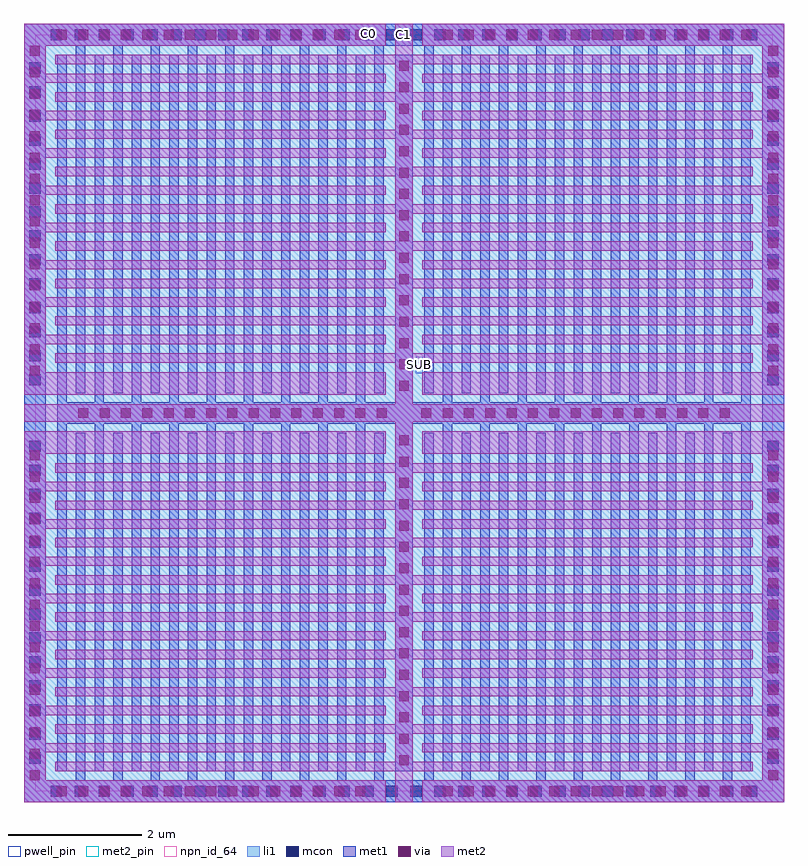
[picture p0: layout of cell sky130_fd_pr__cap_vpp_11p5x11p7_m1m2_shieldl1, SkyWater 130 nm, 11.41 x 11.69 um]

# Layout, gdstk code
import gdstk
lib = gdstk.Library(unit=1e-6, precision=1e-09)
def R(c, l, rs):  # rectangles x0, y0, x1, y1
    for r in rs: c.add(gdstk.rectangle(r[:2], r[2:], *l))
def A(c, l, x, y, w, h, nx, ny, dx, dy):  # array of equal rectangles
    R(c, l, [(x+i*dx, y+j*dy, x+i*dx+w, y+j*dy+h) for i in range(nx) for j in range(ny)])
def P(c, l, *ps):  # polygons
    for p in ps: c.add(gdstk.Polygon(p, *l))
li1 = (67, 20)
mcon = (67, 44)
met1 = (68, 20)
via = (68, 44)
met2_pin = (69, 16)
met2 = (69, 20)
npn_id_64 = (82, 64)
pwell_pin = (122, 16)

sky130_fd_pr__cap_vpp_11 = lib.new_cell('sky130_fd_pr__cap_vpp_11p5x11p7_m1m2_shieldl1')
R(sky130_fd_pr__cap_vpp_11, li1, [(0,0,11.41,11.69)])
A(sky130_fd_pr__cap_vpp_11, mcon, 0.4, 0.08, 0.17, 0.17, 30, 2, 0.36, 11.36)
A(sky130_fd_pr__cap_vpp_11, mcon, 0.08, 0.58, 0.17, 0.17, 1, 14, 0, 0.36)
A(sky130_fd_pr__cap_vpp_11, mcon, 11.16, 0.58, 0.17, 0.17, 1, 14, 0, 0.36)
A(sky130_fd_pr__cap_vpp_11, mcon, 0.08, 6.26, 0.17, 0.17, 1, 14, 0, 0.36)
A(sky130_fd_pr__cap_vpp_11, mcon, 11.16, 6.26, 0.17, 0.17, 1, 14, 0, 0.36)
P(sky130_fd_pr__cap_vpp_11, met1, [(10.91,11.22),(10.77,11.22),(10.77,6.005),(10.35,6.005),(10.35,11.22),(10.21,11.22),(10.21,6.005),(9.79,6.005),(9.79,11.22),(9.65,11.22),(9.65,6.005),(9.23,6.005),(9.23,11.22),(9.09,11.22),(9.09,6.005),(8.67,6.005),(8.67,11.22),(8.53,11.22),(8.53,6.005),(8.11,6.005),(8.11,11.22),(7.97,11.22),(7.97,6.005),(7.55,6.005),(7.55,11.22),(7.41,11.22),(7.41,6.005),(6.99,6.005),(6.99,11.22),(6.85,11.22),(6.85,6.005),(6.43,6.005),(6.43,11.22),(6.29,11.22),(6.29,6.005),(5.84,6.005),(5.84,11.22),(5.57,11.22),(5.57,6.005),(5.12,6.005),(5.12,11.22),(4.98,11.22),(4.98,6.005),(4.56,6.005),(4.56,11.22),(4.42,11.22),(4.42,6.005),(4,6.005),(4,11.22),(3.86,11.22),(3.86,6.005),(3.44,6.005),(3.44,11.22),(3.3,11.22),(3.3,6.005),(2.88,6.005),(2.88,11.22),(2.74,11.22),(2.74,6.005),(2.32,6.005),(2.32,11.22),(2.18,11.22),(2.18,6.005),(1.76,6.005),(1.76,11.22),(1.62,11.22),(1.62,6.005),(1.2,6.005),(1.2,11.22),(1.06,11.22),(1.06,6.005),(0.64,6.005),(0.64,11.22),(0.5,11.22),(0.5,0.47),(0.64,0.47),(0.64,5.685),(1.06,5.685),(1.06,0.47),(1.2,0.47),(1.2,5.685),(1.62,5.685),(1.62,0.47),(1.76,0.47),(1.76,5.685),(2.18,5.685),(2.18,0.47),(2.32,0.47),(2.32,5.685),(2.74,5.685),(2.74,0.47),(2.88,0.47),(2.88,5.685),(3.3,5.685),(3.3,0.47),(3.44,0.47),(3.44,5.685),(3.86,5.685),(3.86,0.47),(4,0.47),(4,5.685),(4.42,5.685),(4.42,0.47),(4.56,0.47),(4.56,5.685),(4.98,5.685),(4.98,0.47),(5.12,0.47),(5.12,5.685),(5.57,5.685),(5.57,0.47),(5.84,0.47),(5.84,5.685),(6.29,5.685),(6.29,0.47),(6.43,0.47),(6.43,5.685),(6.85,5.685),(6.85,0.47),(6.99,0.47),(6.99,5.685),(7.41,5.685),(7.41,0.47),(7.55,0.47),(7.55,5.685),(7.97,5.685),(7.97,0.47),(8.11,0.47),(8.11,5.685),(8.53,5.685),(8.53,0.47),(8.67,0.47),(8.67,5.685),(9.09,5.685),(9.09,0.47),(9.23,0.47),(9.23,5.685),(9.65,5.685),(9.65,0.47),(9.79,0.47),(9.79,5.685),(10.21,5.685),(10.21,0.47),(10.35,0.47),(10.35,5.685),(10.77,5.685),(10.77,0.47),(10.91,0.47)],
  [(11.41,11.69),(11.08,11.69),(11.08,0.33),(10.63,0.33),(10.63,5.545),(10.49,5.545),(10.49,0.33),(10.07,0.33),(10.07,5.545),(9.93,5.545),(9.93,0.33),(9.51,0.33),(9.51,5.545),(9.37,5.545),(9.37,0.33),(8.95,0.33),(8.95,5.545),(8.81,5.545),(8.81,0.33),(8.39,0.33),(8.39,5.545),(8.25,5.545),(8.25,0.33),(7.83,0.33),(7.83,5.545),(7.69,5.545),(7.69,0.33),(7.27,0.33),(7.27,5.545),(7.13,5.545),(7.13,0.33),(6.71,0.33),(6.71,5.545),(6.57,5.545),(6.57,0.33),(6.15,0.33),(6.15,5.545),(6.01,5.545),(6.01,0.33),(5.4,0.33),(5.4,5.545),(5.26,5.545),(5.26,0.33),(4.84,0.33),(4.84,5.545),(4.7,5.545),(4.7,0.33),(4.28,0.33),(4.28,5.545),(4.14,5.545),(4.14,0.33),(3.72,0.33),(3.72,5.545),(3.58,5.545),(3.58,0.33),(3.16,0.33),(3.16,5.545),(3.02,5.545),(3.02,0.33),(2.6,0.33),(2.6,5.545),(2.46,5.545),(2.46,0.33),(2.04,0.33),(2.04,5.545),(1.9,5.545),(1.9,0.33),(1.48,0.33),(1.48,5.545),(1.34,5.545),(1.34,0.33),(0.92,0.33),(0.92,5.545),(0.78,5.545),(0.78,0.33),(0.33,0.33),(0.33,11.36),(0.78,11.36),(0.78,6.145),(0.92,6.145),(0.92,11.36),(1.34,11.36),(1.34,6.145),(1.48,6.145),(1.48,11.36),(1.9,11.36),(1.9,6.145),(2.04,6.145),(2.04,11.36),(2.46,11.36),(2.46,6.145),(2.6,6.145),(2.6,11.36),(3.02,11.36),(3.02,6.145),(3.16,6.145),(3.16,11.36),(3.58,11.36),(3.58,6.145),(3.72,6.145),(3.72,11.36),(4.14,11.36),(4.14,6.145),(4.28,6.145),(4.28,11.36),(4.7,11.36),(4.7,6.145),(4.84,6.145),(4.84,11.36),(5.26,11.36),(5.26,6.145),(5.4,6.145),(5.4,11.36),(6.01,11.36),(6.01,6.145),(6.15,6.145),(6.15,11.36),(6.57,11.36),(6.57,6.145),(6.71,6.145),(6.71,11.36),(7.13,11.36),(7.13,6.145),(7.27,6.145),(7.27,11.36),(7.69,11.36),(7.69,6.145),(7.83,6.145),(7.83,11.36),(8.25,11.36),(8.25,6.145),(8.39,6.145),(8.39,11.36),(8.81,11.36),(8.81,6.145),(8.95,6.145),(8.95,11.36),(9.37,11.36),(9.37,6.145),(9.51,6.145),(9.51,11.36),(9.93,11.36),(9.93,6.145),(10.07,6.145),(10.07,11.36),(10.49,11.36),(10.49,6.145),(10.63,6.145),(10.63,11.36),(11.08,11.36),(11.08,11.69),(0,11.69),(0,0),(11.41,0)])
A(sky130_fd_pr__cap_vpp_11, via, 4.015, 0.09, 0.15, 0.15, 1, 3, 0, 5.68)
A(sky130_fd_pr__cap_vpp_11, via, 7.245, 0.09, 0.15, 0.15, 1, 3, 0, 5.68)
A(sky130_fd_pr__cap_vpp_11, via, 0.09, 0.335, 0.15, 0.15, 1, 16, 0, 0.32)
A(sky130_fd_pr__cap_vpp_11, via, 11.17, 0.335, 0.15, 0.15, 1, 16, 0, 0.32)
A(sky130_fd_pr__cap_vpp_11, via, 5.63, 0.56, 0.15, 0.15, 1, 16, 0, 0.32)
A(sky130_fd_pr__cap_vpp_11, via, 0.815, 5.77, 0.15, 0.15, 11, 1, 0.32, 0)
A(sky130_fd_pr__cap_vpp_11, via, 7.245, 5.77, 0.15, 0.15, 11, 1, 0.32, 0)
A(sky130_fd_pr__cap_vpp_11, via, 5.63, 6.18, 0.15, 0.15, 1, 16, 0, 0.32)
A(sky130_fd_pr__cap_vpp_11, via, 0.09, 6.405, 0.15, 0.15, 1, 16, 0, 0.32)
A(sky130_fd_pr__cap_vpp_11, via, 11.17, 6.405, 0.15, 0.15, 1, 16, 0, 0.32)
R(sky130_fd_pr__cap_vpp_11, via, [(0.495,0.09,0.645,0.24), (0.495,0.09,0.645,0.24), (0.815,0.09,0.965,0.24), (0.815,0.09,0.965,0.24), (1.135,0.09,1.285,0.24), (1.135,0.09,1.285,0.24), (1.455,0.09,1.605,0.24), (1.455,0.09,1.605,0.24), (1.775,0.09,1.925,0.24), (1.775,0.09,1.925,0.24), (2.095,0.09,2.245,0.24), (2.095,0.09,2.245,0.24), (2.415,0.09,2.565,0.24), (2.415,0.09,2.565,0.24), (2.735,0.09,2.885,0.24), (2.735,0.09,2.885,0.24), (3.055,0.09,3.205,0.24), (3.055,0.09,3.205,0.24), (3.375,0.09,3.525,0.24), (3.375,0.09,3.525,0.24), (3.695,0.09,3.845,0.24), (3.695,0.09,3.845,0.24), (4.015,0.09,4.165,0.24), (4.335,0.09,4.485,0.24), (4.335,0.09,4.485,0.24), (4.655,0.09,4.805,0.24), (4.655,0.09,4.805,0.24), (4.975,0.09,5.125,0.24), (4.975,0.09,5.125,0.24), (6.285,0.09,6.435,0.24), (6.285,0.09,6.435,0.24), (6.605,0.09,6.755,0.24), (6.605,0.09,6.755,0.24), (6.925,0.09,7.075,0.24), (6.925,0.09,7.075,0.24), (7.245,0.09,7.395,0.24), (7.565,0.09,7.715,0.24), (7.565,0.09,7.715,0.24), (7.885,0.09,8.035,0.24), (7.885,0.09,8.035,0.24), (8.205,0.09,8.355,0.24), (8.205,0.09,8.355,0.24), (8.525,0.09,8.675,0.24), (8.525,0.09,8.675,0.24), (8.845,0.09,8.995,0.24), (8.845,0.09,8.995,0.24), (9.165,0.09,9.315,0.24), (9.165,0.09,9.315,0.24), (9.485,0.09,9.635,0.24), (9.485,0.09,9.635,0.24), (9.805,0.09,9.955,0.24), (9.805,0.09,9.955,0.24), (10.125,0.09,10.275,0.24), (10.125,0.09,10.275,0.24), (10.445,0.09,10.595,0.24), (10.445,0.09,10.595,0.24), (10.765,0.09,10.915,0.24), (10.765,0.09,10.915,0.24), (4.335,5.77,4.485,5.92), (4.335,5.77,4.485,5.92), (4.655,5.77,4.805,5.92), (4.655,5.77,4.805,5.92), (4.975,5.77,5.125,5.92), (4.975,5.77,5.125,5.92), (5.295,5.77,5.445,5.92), (5.295,5.77,5.445,5.92), (5.965,5.77,6.115,5.92), (5.965,5.77,6.115,5.92), (6.285,5.77,6.435,5.92), (6.285,5.77,6.435,5.92), (6.605,5.77,6.755,5.92), (6.605,5.77,6.755,5.92), (6.925,5.77,7.075,5.92), (6.925,5.77,7.075,5.92), (0.495,11.45,0.645,11.6), (0.495,11.45,0.645,11.6), (0.815,11.45,0.965,11.6), (0.815,11.45,0.965,11.6), (1.135,11.45,1.285,11.6), (1.135,11.45,1.285,11.6), (1.455,11.45,1.605,11.6), (1.455,11.45,1.605,11.6), (1.775,11.45,1.925,11.6), (1.775,11.45,1.925,11.6), (2.095,11.45,2.245,11.6), (2.095,11.45,2.245,11.6), (2.415,11.45,2.565,11.6), (2.415,11.45,2.565,11.6), (2.735,11.45,2.885,11.6), (2.735,11.45,2.885,11.6), (3.055,11.45,3.205,11.6), (3.055,11.45,3.205,11.6), (3.375,11.45,3.525,11.6), (3.375,11.45,3.525,11.6), (3.695,11.45,3.845,11.6), (3.695,11.45,3.845,11.6), (4.015,11.45,4.165,11.6), (4.335,11.45,4.485,11.6), (4.335,11.45,4.485,11.6), (4.655,11.45,4.805,11.6), (4.655,11.45,4.805,11.6), (4.975,11.45,5.125,11.6), (4.975,11.45,5.125,11.6), (6.285,11.45,6.435,11.6), (6.285,11.45,6.435,11.6), (6.605,11.45,6.755,11.6), (6.605,11.45,6.755,11.6), (6.925,11.45,7.075,11.6), (6.925,11.45,7.075,11.6), (7.245,11.45,7.395,11.6), (7.565,11.45,7.715,11.6), (7.565,11.45,7.715,11.6), (7.885,11.45,8.035,11.6), (7.885,11.45,8.035,11.6), (8.205,11.45,8.355,11.6), (8.205,11.45,8.355,11.6), (8.525,11.45,8.675,11.6), (8.525,11.45,8.675,11.6), (8.845,11.45,8.995,11.6), (8.845,11.45,8.995,11.6), (9.165,11.45,9.315,11.6), (9.165,11.45,9.315,11.6), (9.485,11.45,9.635,11.6), (9.485,11.45,9.635,11.6), (9.805,11.45,9.955,11.6), (9.805,11.45,9.955,11.6), (10.125,11.45,10.275,11.6), (10.125,11.45,10.275,11.6), (10.445,11.45,10.595,11.6), (10.445,11.45,10.595,11.6), (10.765,11.45,10.915,11.6), (10.765,11.45,10.915,11.6)])
R(sky130_fd_pr__cap_vpp_11, met2_pin, [(5.595,11.44,5.805,11.62), (5.09,11.465,5.24,11.605)])
P(sky130_fd_pr__cap_vpp_11, met2, [(5.43,6.46),(0.33,6.46),(0.33,6.88),(5.43,6.88),(5.43,7.02),(0.33,7.02),(0.33,7.44),(5.43,7.44),(5.43,7.58),(0.33,7.58),(0.33,8),(5.43,8),(5.43,8.14),(0.33,8.14),(0.33,8.56),(5.43,8.56),(5.43,8.7),(0.33,8.7),(0.33,9.12),(5.43,9.12),(5.43,9.26),(0.33,9.26),(0.33,9.68),(5.43,9.68),(5.43,9.82),(0.33,9.82),(0.33,10.24),(5.43,10.24),(5.43,10.38),(0.33,10.38),(0.33,10.8),(5.43,10.8),(5.43,10.94),(0.33,10.94),(0.33,11.36),(5.43,11.36),(5.43,11.69),(0,11.69),(0,6.12),(5.43,6.12)],
  [(5.43,0.33),(0.33,0.33),(0.33,0.75),(5.43,0.75),(5.43,0.89),(0.33,0.89),(0.33,1.31),(5.43,1.31),(5.43,1.45),(0.33,1.45),(0.33,1.87),(5.43,1.87),(5.43,2.01),(0.33,2.01),(0.33,2.43),(5.43,2.43),(5.43,2.57),(0.33,2.57),(0.33,2.99),(5.43,2.99),(5.43,3.13),(0.33,3.13),(0.33,3.55),(5.43,3.55),(5.43,3.69),(0.33,3.69),(0.33,4.11),(5.43,4.11),(5.43,4.25),(0.33,4.25),(0.33,4.67),(5.43,4.67),(5.43,4.81),(0.33,4.81),(0.33,5.23),(5.43,5.23),(5.43,5.57),(0,5.57),(0,0),(5.43,0)],
  [(11.41,11.69),(5.98,11.69),(5.98,11.36),(11.08,11.36),(11.08,10.94),(5.98,10.94),(5.98,10.8),(11.08,10.8),(11.08,10.38),(5.98,10.38),(5.98,10.24),(11.08,10.24),(11.08,9.82),(5.98,9.82),(5.98,9.68),(11.08,9.68),(11.08,9.26),(5.98,9.26),(5.98,9.12),(11.08,9.12),(11.08,8.7),(5.98,8.7),(5.98,8.56),(11.08,8.56),(11.08,8.14),(5.98,8.14),(5.98,8),(11.08,8),(11.08,7.58),(5.98,7.58),(5.98,7.44),(11.08,7.44),(11.08,7.02),(5.98,7.02),(5.98,6.88),(11.08,6.88),(11.08,6.46),(5.98,6.46),(5.98,6.12),(11.41,6.12)],
  [(11.41,5.98),(5.84,5.98),(5.84,6.6),(10.94,6.6),(10.94,6.74),(5.84,6.74),(5.84,7.16),(10.94,7.16),(10.94,7.3),(5.84,7.3),(5.84,7.72),(10.94,7.72),(10.94,7.86),(5.84,7.86),(5.84,8.28),(10.94,8.28),(10.94,8.42),(5.84,8.42),(5.84,8.84),(10.94,8.84),(10.94,8.98),(5.84,8.98),(5.84,9.4),(10.94,9.4),(10.94,9.54),(5.84,9.54),(5.84,9.96),(10.94,9.96),(10.94,10.1),(5.84,10.1),(5.84,10.52),(10.94,10.52),(10.94,10.66),(5.84,10.66),(5.84,11.08),(10.94,11.08),(10.94,11.22),(5.84,11.22),(5.84,11.69),(5.57,11.69),(5.57,11.22),(0.47,11.22),(0.47,11.08),(5.57,11.08),(5.57,10.66),(0.47,10.66),(0.47,10.52),(5.57,10.52),(5.57,10.1),(0.47,10.1),(0.47,9.96),(5.57,9.96),(5.57,9.54),(0.47,9.54),(0.47,9.4),(5.57,9.4),(5.57,8.98),(0.47,8.98),(0.47,8.84),(5.57,8.84),(5.57,8.42),(0.47,8.42),(0.47,8.28),(5.57,8.28),(5.57,7.86),(0.47,7.86),(0.47,7.72),(5.57,7.72),(5.57,7.3),(0.47,7.3),(0.47,7.16),(5.57,7.16),(5.57,6.74),(0.47,6.74),(0.47,6.6),(5.57,6.6),(5.57,5.98),(0,5.98),(0,5.71),(5.57,5.71),(5.57,5.09),(0.47,5.09),(0.47,4.95),(5.57,4.95),(5.57,4.53),(0.47,4.53),(0.47,4.39),(5.57,4.39),(5.57,3.97),(0.47,3.97),(0.47,3.83),(5.57,3.83),(5.57,3.41),(0.47,3.41),(0.47,3.27),(5.57,3.27),(5.57,2.85),(0.47,2.85),(0.47,2.71),(5.57,2.71),(5.57,2.29),(0.47,2.29),(0.47,2.15),(5.57,2.15),(5.57,1.73),(0.47,1.73),(0.47,1.59),(5.57,1.59),(5.57,1.17),(0.47,1.17),(0.47,1.03),(5.57,1.03),(5.57,0.61),(0.47,0.61),(0.47,0.47),(5.57,0.47),(5.57,0),(5.84,0),(5.84,0.47),(10.94,0.47),(10.94,0.61),(5.84,0.61),(5.84,1.03),(10.94,1.03),(10.94,1.17),(5.84,1.17),(5.84,1.59),(10.94,1.59),(10.94,1.73),(5.84,1.73),(5.84,2.15),(10.94,2.15),(10.94,2.29),(5.84,2.29),(5.84,2.71),(10.94,2.71),(10.94,2.85),(5.84,2.85),(5.84,3.27),(10.94,3.27),(10.94,3.41),(5.84,3.41),(5.84,3.83),(10.94,3.83),(10.94,3.97),(5.84,3.97),(5.84,4.39),(10.94,4.39),(10.94,4.53),(5.84,4.53),(5.84,4.95),(10.94,4.95),(10.94,5.09),(5.84,5.09),(5.84,5.71),(11.41,5.71)],
  [(11.41,5.57),(5.98,5.57),(5.98,5.23),(11.08,5.23),(11.08,4.81),(5.98,4.81),(5.98,4.67),(11.08,4.67),(11.08,4.25),(5.98,4.25),(5.98,4.11),(11.08,4.11),(11.08,3.69),(5.98,3.69),(5.98,3.55),(11.08,3.55),(11.08,3.13),(5.98,3.13),(5.98,2.99),(11.08,2.99),(11.08,2.57),(5.98,2.57),(5.98,2.43),(11.08,2.43),(11.08,2.01),(5.98,2.01),(5.98,1.87),(11.08,1.87),(11.08,1.45),(5.98,1.45),(5.98,1.31),(11.08,1.31),(11.08,0.89),(5.98,0.89),(5.98,0.75),(11.08,0.75),(11.08,0.33),(5.98,0.33),(5.98,0),(11.41,0)])
R(sky130_fd_pr__cap_vpp_11, npn_id_64, [(0.17,0.17,11.24,11.52)])
R(sky130_fd_pr__cap_vpp_11, pwell_pin, [(5.88,6.445,5.985,6.69)])
sky130_fd_pr__cap_vpp_11.add(gdstk.Label('C0', (5.165,11.535), layer=69, texttype=5))
sky130_fd_pr__cap_vpp_11.add(gdstk.Label('C1', (5.7,11.53), layer=69, texttype=5))
sky130_fd_pr__cap_vpp_11.add(gdstk.Label('SUB', (5.935,6.57), layer=64, texttype=59))

lib.write_gds('sky130_fd_pr__cap_vpp_11p5x11p7_m1m2_shieldl1.gds')
